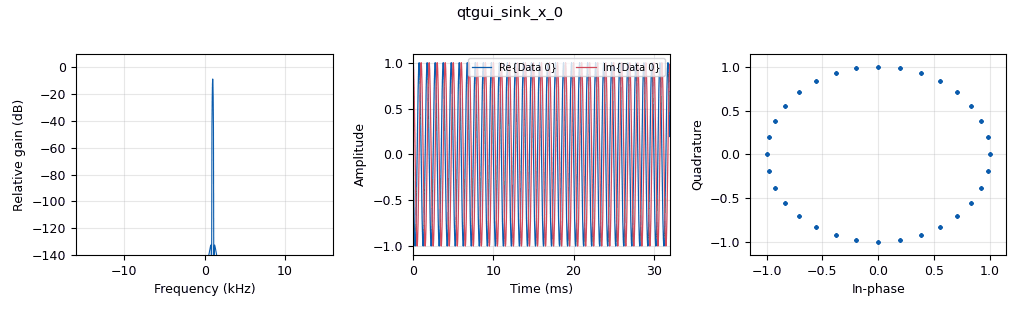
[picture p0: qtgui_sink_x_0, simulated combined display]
options:
  parameters:
    generate_options: qt_gui
    id: csma
    output_language: python
    title: Not titled yet
  states: {}

blocks:
- name: samp_rate
  id: variable
  parameters:
    value: '32000'
  states: {}
- name: variable_qtgui_range_0
  id: variable_qtgui_range
  parameters:
    start: '0'
    step: '0.1'
    stop: '2'
    value: '0'
  states: {}
- name: vec_len
  id: variable
  parameters:
    value: '1024'
  states: {}
- name: analog_noise_source_x_0_0
  id: analog_noise_source_x
  parameters:
    amp: variable_qtgui_range_0
    noise_type: analog.GR_GAUSSIAN
    seed: '0'
    type: complex
  states: {}
- name: analog_sig_source_x_0
  id: analog_sig_source_x
  parameters:
    amp: '1'
    freq: '1000'
    offset: '0'
    phase: '0'
    samp_rate: samp_rate
    type: complex
    waveform: analog.GR_COS_WAVE
  states: {}
- name: analog_sig_source_x_0_0
  id: analog_sig_source_x
  parameters:
    amp: '1'
    freq: '0.5'
    offset: '0'
    phase: '0'
    samp_rate: samp_rate
    type: complex
    waveform: analog.GR_SQR_WAVE
  states: {}
- name: blocks_multiply_xx_0
  id: blocks_multiply_xx
  parameters:
    type: complex
  states: {}
- name: epy_block_0
  id: epy_block
  parameters:
    _source_code: |
      import numpy as np
      from gnuradio import gr
      import random
      import time

      class CSMA_CA_Block(gr.sync_block):
          """CSMA/CA Implementation with dual inputs"""

          def __init__(self, energy_threshold=0.1, backoff_max=5, slot_time=0.01):
              """
              Arguments:
              - energy_threshold: Threshold to detect if the channel is busy.
              - backoff_max: Maximum number of backoff slots.
              - slot_time: Time duration of a single backoff slot (in seconds).
              """
              gr.sync_block.__init__(
                  self,
                  name="CSMA/CA Block",
                  in_sig=[np.complex64, np.complex64],  # Two inputs: ambient signal, signal to transmit
                  out_sig=[np.complex64]               # One output: transmitted signal
              )
              self.energy_threshold = energy_threshold
              self.backoff_max = backoff_max
              self.slot_time = slot_time
              self.backoff_active = False

          def detect_channel_busy(self, ambient_signal):
              """Detect if the channel is busy based on energy threshold."""
              energy = np.mean(np.abs(ambient_signal)**2)
              return energy > self.energy_threshold

          def work(self, input_items, output_items):
              """CSMA/CA work function."""
              ambient_signal = input_items[0]  # Signal to monitor (ambient)
              transmit_signal = input_items[1]  # Signal to transmit
              output_signal = output_items[0]   # Output signal

              # Detect if the channel is busy
              if not self.detect_channel_busy(ambient_signal):
                  # Channel is free, transmit the signal
                  output_signal[:] = transmit_signal
                  self.backoff_active = False
              else:
                  # Channel is busy, apply backoff
                  if not self.backoff_active:
                      backoff_time = random.randint(0, self.backoff_max) * self.slot_time
                      print(f"Channel busy, applying backoff of {backoff_time:.3f} seconds")
                      time.sleep(backoff_time)
                      self.backoff_active = True
                  # Block transmission during backoff
                  output_signal[:] = np.zeros_like(transmit_signal)

              return len(output_signal)
    backoff_max: '10'
    energy_threshold: '0.1'
    slot_time: '1'
  states: {}
- name: qtgui_sink_x_0
  id: qtgui_sink_x
  parameters:
    bw: samp_rate
    fc: '0'
    fftsize: '1024'
    type: complex
  states: {}

connections:
- [analog_noise_source_x_0_0, '0', epy_block_0, '0']
- [analog_sig_source_x_0, '0', blocks_multiply_xx_0, '0']
- [analog_sig_source_x_0_0, '0', blocks_multiply_xx_0, '1']
- [blocks_multiply_xx_0, '0', epy_block_0, '1']
- [epy_block_0, '0', qtgui_sink_x_0, '0']

metadata:
  file_format: 1
  grc_version: 3.10.11.0
